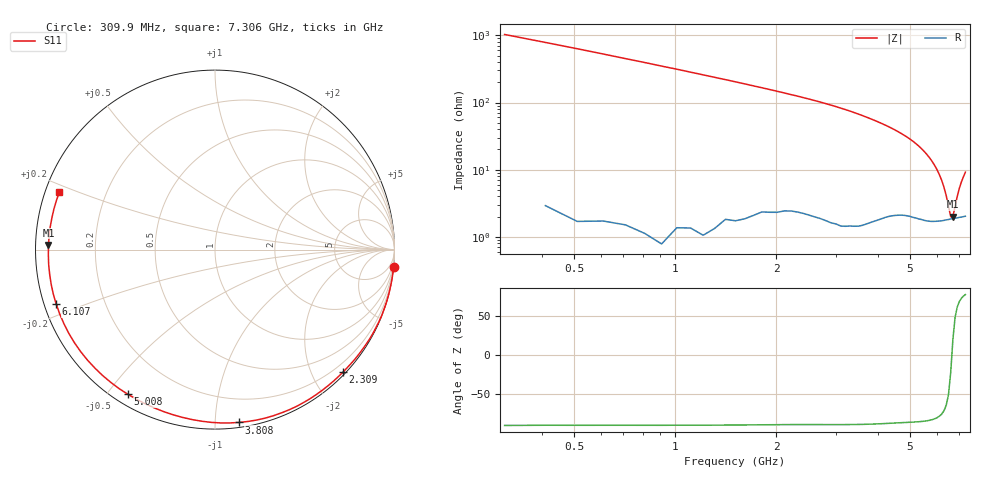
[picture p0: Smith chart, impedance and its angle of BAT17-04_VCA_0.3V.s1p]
! Infineon Technologies  Discrete & RF Semiconductors
! BAT17-04
! VCA = 0.3 V
! One-Port S-Parameters
# Hz  S  MA  R  50
!f  S11
!Hz  Mag  Ang
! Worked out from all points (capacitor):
!   71 points, 309.9 MHz to 7.306 GHz, reference 50 ohm
!   read as one part to ground: C = 493 fF near 309.9 MHz
!   lowest |Z| = 1.99 ohm at 6.707 GHz (marker M1)
!   series resonance near 6.659 GHz, so ESL is about 1.2 nH
!   S11 on the Smith chart (normalised r, x): 309.9 MHz: -0, -21; 2.309 GHz: 0.05, -2.49; 3.808 GHz: 0.03, -1.15; 5.008 GHz: 0.04, -0.56; 6.107 GHz: 0.03, -0.17; 7.306 GHz: 0.04, +0.18
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3.0985e8  1 -5.5
8.096e8  0.9993 -14.4
1.2094e9  0.9985 -21.9
1.6092e9  0.9952 -29.6
1.90905e9  0.9914 -35.5
2.10895e9  0.9889 -39.6
2.30885e9  0.9871 -43.7
2.70865e9  0.9855 -52.5
3.0085e9  0.9847 -59.8
3.2084e9  0.9836 -65.0
3.4083e9  0.9811 -70.5
3.6082e9  0.9777 -76.1
3.8081e9  0.9723 -82.1
4.008e9  0.9662 -88.2
4.2079e9  0.9591 -94.4
4.50775e9  0.9496 -104.1
4.70765e9  0.9447 -110.8
5.0075e9  0.941 -121.1
5.30735e9  0.9404 -131.7
5.6072e9  0.9398 -142.8
5.70715e9  0.9394 -146.5
5.90705e9  0.9376 -153.8
6.10695e9  0.9353 -161.1
6.30685e9  0.9329 -168.1
6.50675e9  0.9304 -174.9
6.70665e9  0.9281 178.4
7.0065e9  0.9258 168.9
7.30635e9  0.9246 159.7
